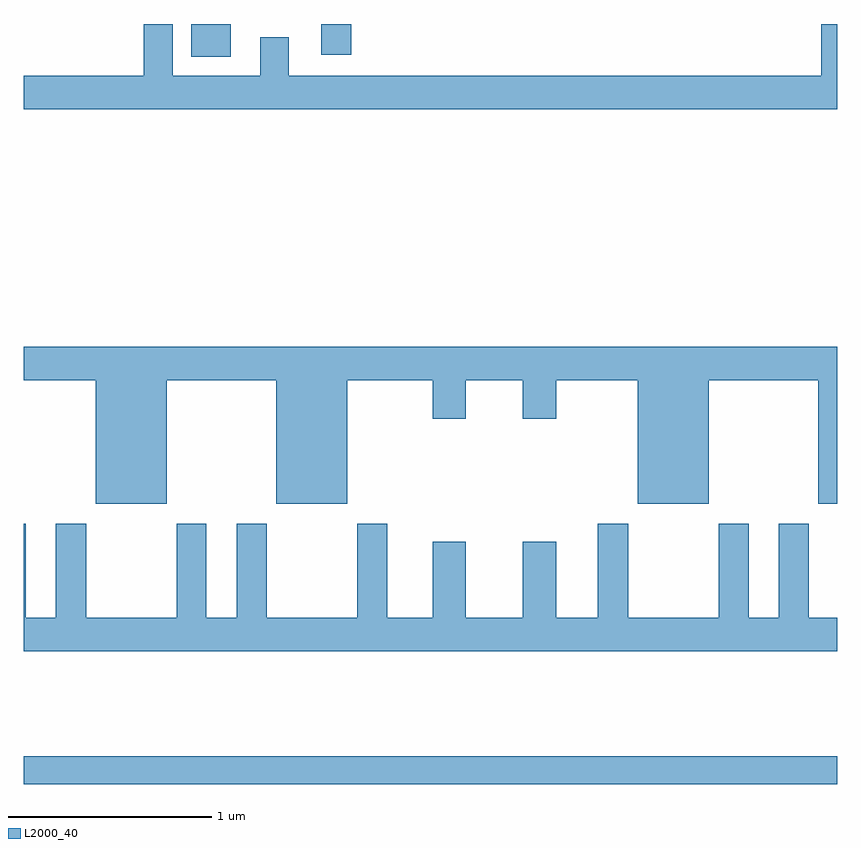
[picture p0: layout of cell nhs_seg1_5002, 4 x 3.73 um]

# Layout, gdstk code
import gdstk
lib = gdstk.Library(unit=1e-6, precision=1e-09)
def R(c, l, rs):  # rectangles x0, y0, x1, y1
    for r in rs: c.add(gdstk.rectangle(r[:2], r[2:], *l))
def P(c, l, *ps):  # polygons
    for p in ps: c.add(gdstk.Polygon(p, *l))
L2000_40 = (2000, 40)

nhs_seg1_5002 = lib.new_cell('nhs_seg1_5002')
R(nhs_seg1_5002, L2000_40, [(383,500.464,387,500.6), (383.823,504.038,384.019,504.199), (384.464,504.048,384.611,504.199)])
P(nhs_seg1_5002, L2000_40, [(387,504.199),(386.921,504.199),(386.921,503.944),(384.304,503.944),(384.304,504.134),(384.164,504.134),(384.164,503.944),(383.734,503.944),(383.734,504.199),(383.591,504.199),(383.591,503.944),(383,503.944),(383,503.78),(387,503.78)],
  [(383.704,502.448),(384.242,502.448),(384.242,501.842),(384.592,501.842),(384.592,502.448),(385.01,502.448),(385.01,502.26),(385.174,502.26),(385.174,502.448),(385.454,502.448),(385.454,502.26),(385.618,502.26),(385.618,502.448),(386.018,502.448),(386.018,501.842),(386.368,501.842),(386.368,502.448),(386.906,502.448),(386.906,501.842),(387,501.842),(387,502.612),(383,502.612),(383,502.448),(383.354,502.448),(383.354,501.842),(383.704,501.842)],
  [(387,501.28),(386.859,501.28),(386.859,501.742),(386.711,501.742),(386.711,501.28),(386.563,501.28),(386.563,501.742),(386.416,501.742),(386.416,501.28),(385.971,501.28),(385.971,501.742),(385.823,501.742),(385.823,501.28),(385.618,501.28),(385.618,501.655),(385.454,501.655),(385.454,501.28),(385.174,501.28),(385.174,501.655),(385.01,501.655),(385.01,501.28),(384.787,501.28),(384.787,501.742),(384.64,501.742),(384.64,501.28),(384.195,501.28),(384.195,501.742),(384.047,501.742),(384.047,501.28),(383.899,501.28),(383.899,501.742),(383.752,501.742),(383.752,501.28),(383.307,501.28),(383.307,501.742),(383.159,501.742),(383.159,501.28),(383.011,501.28),(383.011,501.742),(383,501.742),(383,501.116),(387,501.116)])

lib.write_gds('nhs_seg1_5002.gds')
